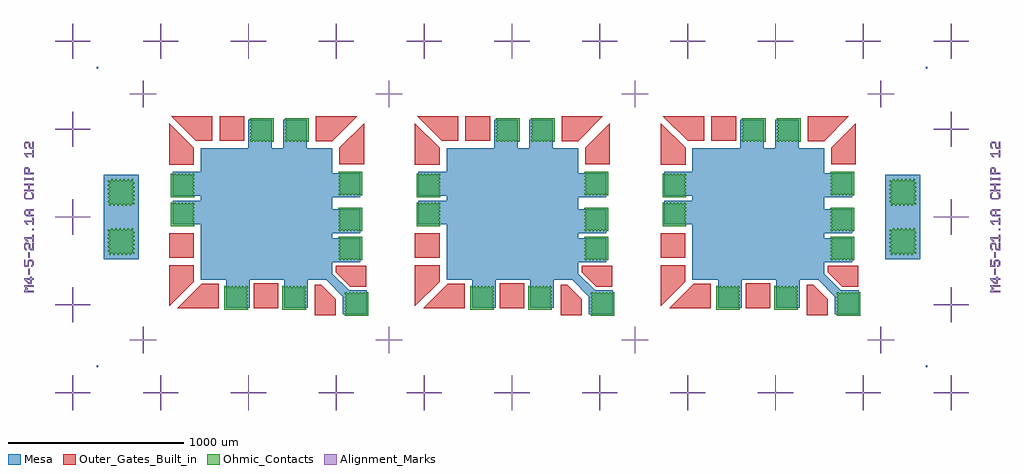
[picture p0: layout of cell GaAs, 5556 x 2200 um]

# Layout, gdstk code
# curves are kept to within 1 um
from math import pi, radians
import gdstk
lib = gdstk.Library(unit=1e-6, precision=1e-09)
def R(c, l, rs):  # rectangles x0, y0, x1, y1
    for r in rs: c.add(gdstk.rectangle(r[:2], r[2:], *l))
def P(c, l, *ps):  # polygons
    for p in ps: c.add(gdstk.Polygon(p, *l))
Alignment_Marks = (1, 0)
Mesa = (2, 0)
Ohmic_Contacts = (3, 0)
Outer_Gates_Built_in = (4, 0)

mesaohmicgate = lib.new_cell('MesaOhmicGate')
P(mesaohmicgate, Mesa, [(10,10),(10,145),(109.644,145),(205,240.356),(205,344.5),(45,344.5),(45,479.5),(205,479.5),(205,674.5),(45,674.5),(45,809.5),(205,809.5),(205,955),(520.5,955),(520.5,1115),(655.5,1115),(655.5,955),(684.5,955),(684.5,1115),(819.5,1115),(819.5,955),(955,955),(955,684.5),(1115,684.5),(1115,549.5),(955,549.5),(955,484.5),(1115,484.5),(1115,349.5),(955,349.5),(955,205),(810.5,205),(810.5,45),(675.5,45),(675.5,205),(605.5,205),(605.5,45),(470.5,45),(470.5,205),(440.5,205),(440.5,45),(305.5,45),(305.5,205),(240.356,205),(145,109.644),(145,10)])
P(mesaohmicgate, Ohmic_Contacts, [(678.333,989.803),(675,992.255),(675,1125),(807.745,1125),(810,1120),(800,1110),(810,1100),(800,1090),(810,1080),(800,1070),(810,1060),(800,1050),(810,1040),(800,1030),(810,1020),(800,1010),(810,1000),(807.165,992.835),(800,990),(790,1000),(780,990),(770,1000),(760,990),(750,1000),(740,990),(730,1000),(720,990),(710,1000),(700,990),(690,1000),(681.667,991.307)],
  [(513.333,989.803),(510,992.255),(510,1125),(642.745,1125),(645,1120),(635,1110),(645,1100),(635,1090),(645,1080),(635,1070),(645,1060),(635,1050),(645,1040),(635,1030),(645,1020),(635,1010),(645,1000),(642.165,992.835),(635,990),(625,1000),(615,990),(605,1000),(595,990),(585,1000),(575,990),(565,1000),(555,990),(545,1000),(535,990),(525,1000),(516.667,991.307)],
  [(0,0),(0,132.745),(5,135),(15,125),(25,135),(35,125),(45,135),(55,125),(65,135),(75,125),(85,135),(95,125),(105,135),(115,125),(125,135),(132.165,132.165),(135,125),(125,115),(135,105),(125,95),(135,85),(125,75),(135,65),(125,55),(135,45),(125,35),(135,25),(125,15),(135,5),(132.745,0)],
  [(483.118,35),(480.863,40),(490.863,50),(480.863,60),(490.863,70),(480.863,80),(490.863,90),(480.863,100),(490.863,110),(480.863,120),(490.863,130),(480.863,140),(490.863,150),(480.863,160),(483.698,167.165),(490.863,170),(500.863,160),(510.863,170),(520.863,160),(530.863,170),(540.863,160),(550.863,170),(560.863,160),(570.863,170),(580.863,160),(590.863,170),(600.863,160),(610.863,170),(615.863,167.745),(615.863,35)],
  [(318.118,35),(315.863,40),(325.863,50),(315.863,60),(325.863,70),(315.863,80),(325.863,90),(315.863,100),(325.863,110),(315.863,120),(325.863,130),(315.863,140),(325.863,150),(315.863,160),(318.698,167.165),(325.863,170),(335.863,160),(345.863,170),(355.863,160),(365.863,170),(375.863,160),(385.863,170),(395.863,160),(405.863,170),(415.863,160),(425.863,170),(435.863,160),(445.863,170),(450.863,167.745),(450.863,35)],
  [(38.333,354.803),(35,357.255),(35,490),(167.745,490),(170,485),(160,475),(170,465),(160,455),(170,445),(160,435),(170,425),(160,415),(170,405),(160,395),(170,385),(160,375),(170,365),(167.165,357.835),(160,355),(150,365),(140,355),(130,365),(120,355),(110,365),(100,355),(90,365),(80,355),(70,365),(60,355),(50,365),(41.667,356.307)],
  [(38.333,684.803),(35,687.255),(35,820),(167.745,820),(170,815),(160,805),(170,795),(160,785),(170,775),(160,765),(170,755),(160,745),(170,735),(160,725),(170,715),(160,705),(170,695),(167.165,687.835),(160,685),(150,695),(140,685),(130,695),(120,685),(110,695),(100,685),(90,695),(80,685),(70,695),(60,685),(50,695),(41.667,686.307)],
  [(687.255,35),(685,40),(695,50),(685,60),(695,70),(685,80),(695,90),(685,100),(695,110),(685,120),(695,130),(685,140),(695,150),(685,160),(687.835,167.165),(695,170),(705,160),(715,170),(725,160),(735,170),(745,160),(755,170),(765,160),(775,170),(785,160),(795,170),(805,160),(815,170),(820,167.745),(820,35)],
  [(992.255,539.408),(990,544.408),(1000,554.408),(990,564.408),(1000,574.408),(990,584.408),(1000,594.408),(990,604.408),(1000,614.408),(990,624.408),(1000,634.408),(990,644.408),(1000,654.408),(990,664.408),(992.835,671.573),(1000,674.408),(1010,664.408),(1020,674.408),(1030,664.408),(1040,674.408),(1050,664.408),(1060,674.408),(1070,664.408),(1080,674.408),(1090,664.408),(1100,674.408),(1110,664.408),(1120,674.408),(1125,672.153),(1125,539.408)],
  [(992.255,340),(990,345),(1000,355),(990,365),(1000,375),(990,385),(1000,395),(990,405),(1000,415),(990,425),(1000,435),(990,445),(1000,455),(990,465),(992.835,472.165),(1000,475),(1010,465),(1020,475),(1030,465),(1040,475),(1050,465),(1060,475),(1070,465),(1080,475),(1090,465),(1100,475),(1110,465),(1120,475),(1125,472.745),(1125,340)])
R(mesaohmicgate, Outer_Gates_Built_in, [(44,512,184,652), (995.75,707.25,1135.75,847.25), (329.5,995,469.5,1135)])
P(mesaohmicgate, Outer_Gates_Built_in, [(193.5,995),(53.5,1135),(288.5,1135),(288.5,995)],
  [(42.5,852.5),(42.5,1087.5),(182.5,947.5),(182.5,852.5)],
  [(995.75,888.25),(995.75,983.25),(1135.75,1123.25),(1135.75,888.25)],
  [(860.75,994.75),(860.75,1134.75),(1095.75,1134.75),(955.75,994.75)],
  [(165.5,12.5),(165.5,102.154),(248.722,184.5),(285.5,184.5),(285.5,12.5)],
  [(861.5,25),(861.5,165),(956.5,165),(1096.5,25)],
  [(1135,64.5),(995,204.5),(995,299.5),(1135,299.5)],
  [(3.5,185.5),(3.5,305.5),(175.5,305.5),(175.5,268.722),(93.154,185.5)],
  [(170.5,1029.5),(170.5,1029.5),(170.5,1029.5),(170.5,1029.5)],
  [(76.5,876.5),(76.5,876.5),(76.5,876.5),(76.5,876.5)])

crossarray_1 = lib.new_cell('CrossArray$1')
R(crossarray_1, Mesa, [(-2.5,-5,2.5,5), (4717.5,-5,4722.5,5), (-5,-2.5,5,2.5), (4715,-2.5,4725,2.5), (-2.5,1695,2.5,1705), (4717.5,1695,4722.5,1705), (-5,1697.5,5,1702.5), (4715,1697.5,4725,1702.5)])

gaas = lib.new_cell('GaAs')
R(gaas, Alignment_Marks, [(-2754,-328,-2746,-296), (2746,-328,2754,-296), (-2754,-232,-2746,-200), (2746,-232,2754,-200), (-2730,-76,-2722,-68), (2770,-76,2778,-68)])
P(gaas, Alignment_Marks, [(-2502.5,-1100),(-2502.5,-1002.5),(-2600,-1002.5),(-2600,-997.5),(-2502.5,-997.5),(-2502.5,-900),(-2497.5,-900),(-2497.5,-997.5),(-2400,-997.5),(-2400,-1002.5),(-2497.5,-1002.5),(-2497.5,-1100)],
  [(-2002.5,-1100),(-2002.5,-1002.5),(-2100,-1002.5),(-2100,-997.5),(-2002.5,-997.5),(-2002.5,-900),(-1997.5,-900),(-1997.5,-997.5),(-1900,-997.5),(-1900,-1002.5),(-1997.5,-1002.5),(-1997.5,-1100)],
  [(-1502.5,-1100),(-1502.5,-1002.5),(-1600,-1002.5),(-1600,-997.5),(-1502.5,-997.5),(-1502.5,-900),(-1497.5,-900),(-1497.5,-997.5),(-1400,-997.5),(-1400,-1002.5),(-1497.5,-1002.5),(-1497.5,-1100)],
  [(-1002.5,-1100),(-1002.5,-1002.5),(-1100,-1002.5),(-1100,-997.5),(-1002.5,-997.5),(-1002.5,-900),(-997.5,-900),(-997.5,-997.5),(-900,-997.5),(-900,-1002.5),(-997.5,-1002.5),(-997.5,-1100)],
  [(-502.5,-1100),(-502.5,-1002.5),(-600,-1002.5),(-600,-997.5),(-502.5,-997.5),(-502.5,-900),(-497.5,-900),(-497.5,-997.5),(-400,-997.5),(-400,-1002.5),(-497.5,-1002.5),(-497.5,-1100)],
  [(-2.5,-1100),(-2.5,-1002.5),(-100,-1002.5),(-100,-997.5),(-2.5,-997.5),(-2.5,-900),(2.5,-900),(2.5,-997.5),(100,-997.5),(100,-1002.5),(2.5,-1002.5),(2.5,-1100)],
  [(497.5,-1100),(497.5,-1002.5),(400,-1002.5),(400,-997.5),(497.5,-997.5),(497.5,-900),(502.5,-900),(502.5,-997.5),(600,-997.5),(600,-1002.5),(502.5,-1002.5),(502.5,-1100)],
  [(997.5,-1100),(997.5,-1002.5),(900,-1002.5),(900,-997.5),(997.5,-997.5),(997.5,-900),(1002.5,-900),(1002.5,-997.5),(1100,-997.5),(1100,-1002.5),(1002.5,-1002.5),(1002.5,-1100)],
  [(1497.5,-1100),(1497.5,-1002.5),(1400,-1002.5),(1400,-997.5),(1497.5,-997.5),(1497.5,-900),(1502.5,-900),(1502.5,-997.5),(1600,-997.5),(1600,-1002.5),(1502.5,-1002.5),(1502.5,-1100)],
  [(1997.5,-1100),(1997.5,-1002.5),(1900,-1002.5),(1900,-997.5),(1997.5,-997.5),(1997.5,-900),(2002.5,-900),(2002.5,-997.5),(2100,-997.5),(2100,-1002.5),(2002.5,-1002.5),(2002.5,-1100)],
  [(2497.5,-1100),(2497.5,-1002.5),(2400,-1002.5),(2400,-997.5),(2497.5,-997.5),(2497.5,-900),(2502.5,-900),(2502.5,-997.5),(2600,-997.5),(2600,-1002.5),(2502.5,-1002.5),(2502.5,-1100)],
  [(-2102.5,-775),(-2102.5,-702.5),(-2175,-702.5),(-2175,-697.5),(-2102.5,-697.5),(-2102.5,-625),(-2097.5,-625),(-2097.5,-697.5),(-2025,-697.5),(-2025,-702.5),(-2097.5,-702.5),(-2097.5,-775)],
  [(-702.5,-775),(-702.5,-702.5),(-775,-702.5),(-775,-697.5),(-702.5,-697.5),(-702.5,-625),(-697.5,-625),(-697.5,-697.5),(-625,-697.5),(-625,-702.5),(-697.5,-702.5),(-697.5,-775)],
  [(697.5,-775),(697.5,-702.5),(625,-702.5),(625,-697.5),(697.5,-697.5),(697.5,-625),(702.5,-625),(702.5,-697.5),(775,-697.5),(775,-702.5),(702.5,-702.5),(702.5,-775)],
  [(2097.5,-775),(2097.5,-702.5),(2025,-702.5),(2025,-697.5),(2097.5,-697.5),(2097.5,-625),(2102.5,-625),(2102.5,-697.5),(2175,-697.5),(2175,-702.5),(2102.5,-702.5),(2102.5,-775)],
  [(-2502.5,-600),(-2502.5,-502.5),(-2600,-502.5),(-2600,-497.5),(-2502.5,-497.5),(-2502.5,-400),(-2497.5,-400),(-2497.5,-497.5),(-2400,-497.5),(-2400,-502.5),(-2497.5,-502.5),(-2497.5,-600)],
  [(2497.5,-600),(2497.5,-502.5),(2400,-502.5),(2400,-497.5),(2497.5,-497.5),(2497.5,-400),(2502.5,-400),(2502.5,-497.5),(2600,-497.5),(2600,-502.5),(2502.5,-502.5),(2502.5,-600)],
  [(-2778,-428),(-2778,-420),(-2770,-412),(-2770,-404),(-2778,-396),(-2778,-388),(-2722,-388),(-2722,-396),(-2762,-396),(-2762,-400),(-2754,-408),(-2762,-416),(-2762,-420),(-2722,-420),(-2722,-428)],
  [(2722,-428),(2722,-420),(2730,-412),(2730,-404),(2722,-396),(2722,-388),(2778,-388),(2778,-396),(2738,-396),(2738,-400),(2746,-408),(2738,-416),(2738,-420),(2778,-420),(2778,-428)],
  [(-2754,-380),(-2778,-356),(-2762,-356),(-2762,-360),(-2750,-372),(-2742,-372),(-2742,-356),(-2778,-356),(-2778,-348),(-2742,-348),(-2742,-340),(-2734,-340),(-2734,-348),(-2722,-348),(-2722,-356),(-2734,-356),(-2734,-380)],
  [(2746,-380),(2722,-356),(2738,-356),(2738,-360),(2750,-372),(2758,-372),(2758,-356),(2722,-356),(2722,-348),(2758,-348),(2758,-340),(2766,-340),(2766,-348),(2778,-348),(2778,-356),(2766,-356),(2766,-380)],
  [(-2778,-284),(-2778,-244),(-2770,-244),(-2770,-276),(-2758,-276),(-2758,-252),(-2750,-244),(-2730,-244),(-2722,-252),(-2722,-276),(-2730,-284),(-2738,-284),(-2738,-276),(-2734,-276),(-2730,-272),(-2730,-256),(-2734,-252),(-2746,-252),(-2750,-256),(-2750,-284)],
  [(2722,-284),(2722,-244),(2730,-244),(2730,-276),(2742,-276),(2742,-252),(2750,-244),(2770,-244),(2778,-252),(2778,-276),(2770,-284),(2762,-284),(2762,-276),(2766,-276),(2770,-272),(2770,-256),(2766,-252),(2754,-252),(2750,-256),(2750,-284)],
  [(-2770,-188),(-2778,-180),(-2778,-156),(-2770,-148),(-2750,-148),(-2742,-156),(-2742,-176),(-2738,-180),(-2730,-180),(-2730,-148),(-2722,-148),(-2722,-188),(-2742,-188),(-2750,-180),(-2750,-160),(-2754,-156),(-2766,-156),(-2770,-160),(-2770,-176),(-2766,-180),(-2762,-180),(-2762,-188)],
  [(2730,-188),(2722,-180),(2722,-156),(2730,-148),(2750,-148),(2758,-156),(2758,-176),(2762,-180),(2770,-180),(2770,-148),(2778,-148),(2778,-188),(2758,-188),(2750,-180),(2750,-160),(2746,-156),(2734,-156),(2730,-160),(2730,-176),(2734,-180),(2738,-180),(2738,-188)],
  [(-2762,-140),(-2778,-124),(-2778,-116),(-2730,-116),(-2730,-100),(-2722,-100),(-2722,-140),(-2730,-140),(-2730,-124),(-2762,-124),(-2762,-128),(-2754,-136),(-2754,-140)],
  [(2738,-140),(2722,-124),(2722,-116),(2770,-116),(2770,-100),(2778,-100),(2778,-140),(2770,-140),(2770,-124),(2738,-124),(2738,-128),(2746,-136),(2746,-140)],
  [(-2762,-44),(-2778,-28),(-2778,-20),(-2730,-20),(-2730,-4),(-2722,-4),(-2722,-44),(-2730,-44),(-2730,-28),(-2762,-28),(-2762,-32),(-2754,-40),(-2754,-44)],
  [(2738,-44),(2722,-28),(2722,-20),(2770,-20),(2770,-4),(2778,-4),(2778,-44),(2770,-44),(2770,-28),(2738,-28),(2738,-32),(2746,-40),(2746,-44)],
  [(-2766,4),(-2778,16),(-2778,32),(-2774,36),(-2762,36),(-2770,28),(-2770,20),(-2762,12),(-2750,12),(-2750,36),(-2774,36),(-2766,44),(-2722,44),(-2722,36),(-2742,36),(-2742,12),(-2722,12),(-2722,4)],
  [(2734,4),(2722,16),(2722,32),(2726,36),(2738,36),(2730,28),(2730,20),(2738,12),(2750,12),(2750,36),(2726,36),(2734,44),(2778,44),(2778,36),(2758,36),(2758,12),(2778,12),(2778,4)],
  [(-2502.5,-100),(-2502.5,-2.5),(-2600,-2.5),(-2600,2.5),(-2502.5,2.5),(-2502.5,100),(-2497.5,100),(-2497.5,2.5),(-2400,2.5),(-2400,-2.5),(-2497.5,-2.5),(-2497.5,-100)],
  [(2497.5,-100),(2497.5,-2.5),(2400,-2.5),(2400,2.5),(2497.5,2.5),(2497.5,100),(2502.5,100),(2502.5,2.5),(2600,2.5),(2600,-2.5),(2502.5,-2.5),(2502.5,-100)],
  [(-2770,100),(-2778,108),(-2778,132),(-2770,140),(-2762,140),(-2762,132),(-2766,132),(-2770,128),(-2770,112),(-2766,108),(-2734,108),(-2730,112),(-2730,128),(-2734,132),(-2738,132),(-2738,140),(-2730,140),(-2722,132),(-2722,108),(-2730,100)],
  [(2730,100),(2722,108),(2722,132),(2730,140),(2738,140),(2738,132),(2734,132),(2730,128),(2730,112),(2734,108),(2766,108),(2770,112),(2770,128),(2766,132),(2762,132),(2762,140),(2770,140),(2778,132),(2778,108),(2770,100)],
  [(-2778,148),(-2778,156),(-2754,156),(-2754,180),(-2778,180),(-2778,188),(-2722,188),(-2722,180),(-2746,180),(-2746,156),(-2722,156),(-2722,148)],
  [(2722,148),(2722,156),(2746,156),(2746,180),(2722,180),(2722,188),(2778,188),(2778,180),(2754,180),(2754,156),(2778,156),(2778,148)],
  [(-2778,208),(-2778,224),(-2770,224),(-2770,220),(-2730,220),(-2730,224),(-2722,224),(-2722,208),(-2730,208),(-2730,212),(-2770,212),(-2770,208)],
  [(2722,208),(2722,224),(2730,224),(2730,220),(2770,220),(2770,224),(2778,224),(2778,208),(2770,208),(2770,212),(2730,212),(2730,208)],
  [(-2778,244),(-2778,276),(-2766,276),(-2770,272),(-2770,252),(-2754,252),(-2754,272),(-2758,276),(-2778,276),(-2770,284),(-2754,284),(-2746,276),(-2746,252),(-2722,252),(-2722,244)],
  [(2722,244),(2722,276),(2734,276),(2730,272),(2730,252),(2746,252),(2746,272),(2742,276),(2722,276),(2730,284),(2746,284),(2754,276),(2754,252),(2778,252),(2778,244)],
  [(-2762,340),(-2778,356),(-2778,364),(-2730,364),(-2730,380),(-2722,380),(-2722,340),(-2730,340),(-2730,356),(-2762,356),(-2762,352),(-2754,344),(-2754,340)],
  [(2738,340),(2722,356),(2722,364),(2770,364),(2770,380),(2778,380),(2778,340),(2770,340),(2770,356),(2738,356),(2738,352),(2746,344),(2746,340)],
  [(-2770,388),(-2778,396),(-2778,420),(-2770,428),(-2750,428),(-2742,420),(-2742,400),(-2738,396),(-2730,396),(-2730,428),(-2722,428),(-2722,388),(-2742,388),(-2750,396),(-2750,416),(-2754,420),(-2766,420),(-2770,416),(-2770,400),(-2766,396),(-2762,396),(-2762,388)],
  [(2730,388),(2722,396),(2722,420),(2730,428),(2750,428),(2758,420),(2758,400),(2762,396),(2770,396),(2770,428),(2778,428),(2778,388),(2758,388),(2750,396),(2750,416),(2746,420),(2734,420),(2730,416),(2730,400),(2734,396),(2738,396),(2738,388)],
  [(-2502.5,400),(-2502.5,497.5),(-2600,497.5),(-2600,502.5),(-2502.5,502.5),(-2502.5,600),(-2497.5,600),(-2497.5,502.5),(-2400,502.5),(-2400,497.5),(-2497.5,497.5),(-2497.5,400)],
  [(2497.5,400),(2497.5,497.5),(2400,497.5),(2400,502.5),(2497.5,502.5),(2497.5,600),(2502.5,600),(2502.5,502.5),(2600,502.5),(2600,497.5),(2502.5,497.5),(2502.5,400)],
  [(-2102.5,625),(-2102.5,697.5),(-2175,697.5),(-2175,702.5),(-2102.5,702.5),(-2102.5,775),(-2097.5,775),(-2097.5,702.5),(-2025,702.5),(-2025,697.5),(-2097.5,697.5),(-2097.5,625)],
  [(-702.5,625),(-702.5,697.5),(-775,697.5),(-775,702.5),(-702.5,702.5),(-702.5,775),(-697.5,775),(-697.5,702.5),(-625,702.5),(-625,697.5),(-697.5,697.5),(-697.5,625)],
  [(697.5,625),(697.5,697.5),(625,697.5),(625,702.5),(697.5,702.5),(697.5,775),(702.5,775),(702.5,702.5),(775,702.5),(775,697.5),(702.5,697.5),(702.5,625)],
  [(2097.5,625),(2097.5,697.5),(2025,697.5),(2025,702.5),(2097.5,702.5),(2097.5,775),(2102.5,775),(2102.5,702.5),(2175,702.5),(2175,697.5),(2102.5,697.5),(2102.5,625)],
  [(-2502.5,900),(-2502.5,997.5),(-2600,997.5),(-2600,1002.5),(-2502.5,1002.5),(-2502.5,1100),(-2497.5,1100),(-2497.5,1002.5),(-2400,1002.5),(-2400,997.5),(-2497.5,997.5),(-2497.5,900)],
  [(-2002.5,900),(-2002.5,997.5),(-2100,997.5),(-2100,1002.5),(-2002.5,1002.5),(-2002.5,1100),(-1997.5,1100),(-1997.5,1002.5),(-1900,1002.5),(-1900,997.5),(-1997.5,997.5),(-1997.5,900)],
  [(-1502.5,900),(-1502.5,997.5),(-1600,997.5),(-1600,1002.5),(-1502.5,1002.5),(-1502.5,1100),(-1497.5,1100),(-1497.5,1002.5),(-1400,1002.5),(-1400,997.5),(-1497.5,997.5),(-1497.5,900)],
  [(-1002.5,900),(-1002.5,997.5),(-1100,997.5),(-1100,1002.5),(-1002.5,1002.5),(-1002.5,1100),(-997.5,1100),(-997.5,1002.5),(-900,1002.5),(-900,997.5),(-997.5,997.5),(-997.5,900)],
  [(-502.5,900),(-502.5,997.5),(-600,997.5),(-600,1002.5),(-502.5,1002.5),(-502.5,1100),(-497.5,1100),(-497.5,1002.5),(-400,1002.5),(-400,997.5),(-497.5,997.5),(-497.5,900)],
  [(-2.5,900),(-2.5,997.5),(-100,997.5),(-100,1002.5),(-2.5,1002.5),(-2.5,1100),(2.5,1100),(2.5,1002.5),(100,1002.5),(100,997.5),(2.5,997.5),(2.5,900)],
  [(497.5,900),(497.5,997.5),(400,997.5),(400,1002.5),(497.5,1002.5),(497.5,1100),(502.5,1100),(502.5,1002.5),(600,1002.5),(600,997.5),(502.5,997.5),(502.5,900)],
  [(997.5,900),(997.5,997.5),(900,997.5),(900,1002.5),(997.5,1002.5),(997.5,1100),(1002.5,1100),(1002.5,1002.5),(1100,1002.5),(1100,997.5),(1002.5,997.5),(1002.5,900)],
  [(1497.5,900),(1497.5,997.5),(1400,997.5),(1400,1002.5),(1497.5,1002.5),(1497.5,1100),(1502.5,1100),(1502.5,1002.5),(1600,1002.5),(1600,997.5),(1502.5,997.5),(1502.5,900)],
  [(1997.5,900),(1997.5,997.5),(1900,997.5),(1900,1002.5),(1997.5,1002.5),(1997.5,1100),(2002.5,1100),(2002.5,1002.5),(2100,1002.5),(2100,997.5),(2002.5,997.5),(2002.5,900)],
  [(2497.5,900),(2497.5,997.5),(2400,997.5),(2400,1002.5),(2497.5,1002.5),(2497.5,1100),(2502.5,1100),(2502.5,1002.5),(2600,1002.5),(2600,997.5),(2502.5,997.5),(2502.5,900)])
R(gaas, Mesa, [(-2325,-240,-2125,240), (2125,-240,2325,240)])
P(gaas, Ohmic_Contacts, [(2160.657,63.008),(2155,70),(2161.367,74.242),(2161.615,77.071),(2148.071,86.97),(2149.298,89.798),(2160.702,96.869),(2161.929,99.697),(2149.71,108.182),(2148.008,111.01),(2161.992,122.323),(2160.29,125.152),(2148.071,133.636),(2149.298,136.465),(2160.702,143.535),(2161.929,146.364),(2149.71,154.848),(2148.008,157.677),(2161.992,168.99),(2160.29,171.818),(2148.071,180.303),(2149.298,183.131),(2160.702,190.202),(2161.929,193.03),(2149.71,201.515),(2148.633,205.758),(2155,210),(2159.242,203.633),(2162.071,203.385),(2171.97,216.929),(2174.798,215.702),(2181.869,204.298),(2184.697,203.071),(2193.182,215.29),(2196.01,216.992),(2207.323,203.008),(2210.152,204.71),(2218.636,216.929),(2221.465,215.702),(2228.535,204.298),(2231.364,203.071),(2239.848,215.29),(2242.677,216.992),(2253.99,203.008),(2256.818,204.71),(2265.303,216.929),(2268.131,215.702),(2275.202,204.298),(2278.03,203.071),(2286.515,215.29),(2290.758,216.367),(2295,210),(2288.633,205.758),(2288.385,202.929),(2301.929,193.03),(2300.702,190.202),(2289.298,183.131),(2288.071,180.303),(2300.29,171.818),(2301.992,168.99),(2288.008,157.677),(2289.71,154.848),(2301.929,146.364),(2300.702,143.535),(2289.298,136.465),(2288.071,133.636),(2300.29,125.152),(2301.992,122.323),(2288.008,111.01),(2289.71,108.182),(2301.929,99.697),(2300.702,96.869),(2289.298,89.798),(2288.071,86.97),(2300.29,78.485),(2301.367,74.242),(2295,70),(2290.758,76.367),(2287.929,76.615),(2278.03,63.071),(2275.202,64.298),(2268.131,75.702),(2265.303,76.929),(2256.818,64.71),(2253.99,63.008),(2242.677,76.992),(2239.848,75.29),(2231.364,63.071),(2228.535,64.298),(2221.465,75.702),(2218.636,76.929),(2210.152,64.71),(2207.323,63.008),(2196.01,76.992),(2193.182,75.29),(2184.697,63.071),(2181.869,64.298),(2174.798,75.702),(2171.97,76.929),(2163.485,64.71)],
  [(2160.657,-216.992),(2155,-210),(2161.367,-205.758),(2161.615,-202.929),(2148.071,-193.03),(2149.298,-190.202),(2160.702,-183.131),(2161.929,-180.303),(2149.71,-171.818),(2148.008,-168.99),(2161.992,-157.677),(2160.29,-154.848),(2148.071,-146.364),(2149.298,-143.535),(2160.702,-136.465),(2161.929,-133.636),(2149.71,-125.152),(2148.008,-122.323),(2161.992,-111.01),(2160.29,-108.182),(2148.071,-99.697),(2149.298,-96.869),(2160.702,-89.798),(2161.929,-86.97),(2149.71,-78.485),(2148.633,-74.242),(2155,-70),(2159.242,-76.367),(2162.071,-76.615),(2171.97,-63.071),(2174.798,-64.298),(2181.869,-75.702),(2184.697,-76.929),(2193.182,-64.71),(2196.01,-63.008),(2207.323,-76.992),(2210.152,-75.29),(2218.636,-63.071),(2221.465,-64.298),(2228.535,-75.702),(2231.364,-76.929),(2239.848,-64.71),(2242.677,-63.008),(2253.99,-76.992),(2256.818,-75.29),(2265.303,-63.071),(2268.131,-64.298),(2275.202,-75.702),(2278.03,-76.929),(2286.515,-64.71),(2290.758,-63.633),(2295,-70),(2288.633,-74.242),(2288.385,-77.071),(2301.929,-86.97),(2300.702,-89.798),(2289.298,-96.869),(2288.071,-99.697),(2300.29,-108.182),(2301.992,-111.01),(2288.008,-122.323),(2289.71,-125.152),(2301.929,-133.636),(2300.702,-136.465),(2289.298,-143.535),(2288.071,-146.364),(2300.29,-154.848),(2301.992,-157.677),(2288.008,-168.99),(2289.71,-171.818),(2301.929,-180.303),(2300.702,-183.131),(2289.298,-190.202),(2288.071,-193.03),(2300.29,-201.515),(2301.367,-205.758),(2295,-210),(2290.758,-203.633),(2287.929,-203.385),(2278.03,-216.929),(2275.202,-215.702),(2268.131,-204.298),(2265.303,-203.071),(2256.818,-215.29),(2253.99,-216.992),(2242.677,-203.008),(2239.848,-204.71),(2231.364,-216.929),(2228.535,-215.702),(2221.465,-204.298),(2218.636,-203.071),(2210.152,-215.29),(2207.323,-216.992),(2196.01,-203.008),(2193.182,-204.71),(2184.697,-216.929),(2181.869,-215.702),(2174.798,-204.298),(2171.97,-203.071),(2163.485,-215.29)],
  [(-2289.343,63.008),(-2295,70),(-2288.633,74.242),(-2288.385,77.071),(-2301.929,86.97),(-2300.702,89.798),(-2289.298,96.869),(-2288.071,99.697),(-2300.29,108.182),(-2301.992,111.01),(-2288.008,122.323),(-2289.71,125.152),(-2301.929,133.636),(-2300.702,136.465),(-2289.298,143.535),(-2288.071,146.364),(-2300.29,154.848),(-2301.992,157.677),(-2288.008,168.99),(-2289.71,171.818),(-2301.929,180.303),(-2300.702,183.131),(-2289.298,190.202),(-2288.071,193.03),(-2300.29,201.515),(-2301.367,205.758),(-2295,210),(-2290.758,203.633),(-2287.929,203.385),(-2278.03,216.929),(-2275.202,215.702),(-2268.131,204.298),(-2265.303,203.071),(-2256.818,215.29),(-2253.99,216.992),(-2242.677,203.008),(-2239.848,204.71),(-2231.364,216.929),(-2228.535,215.702),(-2221.465,204.298),(-2218.636,203.071),(-2210.152,215.29),(-2207.323,216.992),(-2196.01,203.008),(-2193.182,204.71),(-2184.697,216.929),(-2181.869,215.702),(-2174.798,204.298),(-2171.97,203.071),(-2163.485,215.29),(-2159.242,216.367),(-2155,210),(-2161.367,205.758),(-2161.615,202.929),(-2148.071,193.03),(-2149.298,190.202),(-2160.702,183.131),(-2161.929,180.303),(-2149.71,171.818),(-2148.008,168.99),(-2161.992,157.677),(-2160.29,154.848),(-2148.071,146.364),(-2149.298,143.535),(-2160.702,136.465),(-2161.929,133.636),(-2149.71,125.152),(-2148.008,122.323),(-2161.992,111.01),(-2160.29,108.182),(-2148.071,99.697),(-2149.298,96.869),(-2160.702,89.798),(-2161.929,86.97),(-2149.71,78.485),(-2148.633,74.242),(-2155,70),(-2159.242,76.367),(-2162.071,76.615),(-2171.97,63.071),(-2174.798,64.298),(-2181.869,75.702),(-2184.697,76.929),(-2193.182,64.71),(-2196.01,63.008),(-2207.323,76.992),(-2210.152,75.29),(-2218.636,63.071),(-2221.465,64.298),(-2228.535,75.702),(-2231.364,76.929),(-2239.848,64.71),(-2242.677,63.008),(-2253.99,76.992),(-2256.818,75.29),(-2265.303,63.071),(-2268.131,64.298),(-2275.202,75.702),(-2278.03,76.929),(-2286.515,64.71)],
  [(-2289.343,-216.992),(-2295,-210),(-2288.633,-205.758),(-2288.385,-202.929),(-2301.929,-193.03),(-2300.702,-190.202),(-2289.298,-183.131),(-2288.071,-180.303),(-2300.29,-171.818),(-2301.992,-168.99),(-2288.008,-157.677),(-2289.71,-154.848),(-2301.929,-146.364),(-2300.702,-143.535),(-2289.298,-136.465),(-2288.071,-133.636),(-2300.29,-125.152),(-2301.992,-122.323),(-2288.008,-111.01),(-2289.71,-108.182),(-2301.929,-99.697),(-2300.702,-96.869),(-2289.298,-89.798),(-2288.071,-86.97),(-2300.29,-78.485),(-2301.367,-74.242),(-2295,-70),(-2290.758,-76.367),(-2287.929,-76.615),(-2278.03,-63.071),(-2275.202,-64.298),(-2268.131,-75.702),(-2265.303,-76.929),(-2256.818,-64.71),(-2253.99,-63.008),(-2242.677,-76.992),(-2239.848,-75.29),(-2231.364,-63.071),(-2228.535,-64.298),(-2221.465,-75.702),(-2218.636,-76.929),(-2210.152,-64.71),(-2207.323,-63.008),(-2196.01,-76.992),(-2193.182,-75.29),(-2184.697,-63.071),(-2181.869,-64.298),(-2174.798,-75.702),(-2171.97,-76.929),(-2163.485,-64.71),(-2159.242,-63.633),(-2155,-70),(-2161.367,-74.242),(-2161.615,-77.071),(-2148.071,-86.97),(-2149.298,-89.798),(-2160.702,-96.869),(-2161.929,-99.697),(-2149.71,-108.182),(-2148.008,-111.01),(-2161.992,-122.323),(-2160.29,-125.152),(-2148.071,-133.636),(-2149.298,-136.465),(-2160.702,-143.535),(-2161.929,-146.364),(-2149.71,-154.848),(-2148.008,-157.677),(-2161.992,-168.99),(-2160.29,-171.818),(-2148.071,-180.303),(-2149.298,-183.131),(-2160.702,-190.202),(-2161.929,-193.03),(-2149.71,-201.515),(-2148.633,-205.758),(-2155,-210),(-2159.242,-203.633),(-2162.071,-203.385),(-2171.97,-216.929),(-2174.798,-215.702),(-2181.869,-204.298),(-2184.697,-203.071),(-2193.182,-215.29),(-2196.01,-216.992),(-2207.323,-203.008),(-2210.152,-204.71),(-2218.636,-216.929),(-2221.465,-215.702),(-2228.535,-204.298),(-2231.364,-203.071),(-2239.848,-215.29),(-2242.677,-216.992),(-2253.99,-203.008),(-2256.818,-204.71),(-2265.303,-216.929),(-2268.131,-215.702),(-2275.202,-204.298),(-2278.03,-203.071),(-2286.515,-215.29)])
r = gdstk.Reference(mesaohmicgate, (1982.5,-562.5), rotation=pi/2); r.repetition = gdstk.Repetition(1, 3, v1=(0,0), v2=(-1400,0)); gaas.add(r)
gaas.add(gdstk.Reference(crossarray_1, (-2360,-850)))

lib.write_gds('GaAs.gds')
